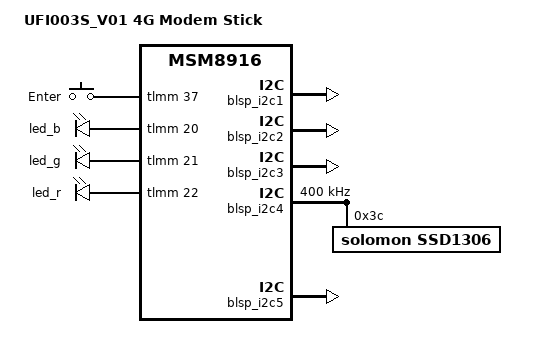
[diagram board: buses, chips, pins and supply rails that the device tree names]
// SPDX-License-Identifier: GPL-2.0-only

/dts-v1/;

#include "msm8916-ufi.dtsi"

/ {
	model = "UFI003S_V01 4G Modem Stick";
	compatible = "ufi,ufi003s-v01", "qcom,msm8916";
};

&blsp_i2c1 {
	status = "okay";
};

&blsp_i2c2 {
	status = "okay";
};

&blsp_i2c3 {
	status = "okay";
};

&blsp_i2c4 {
	status = "okay";
	clock-frequency = <400000>;
	ssd1306: oled@3c { // my custom hardware modification
		compatible = "solomon,ssd1306";
		reg = <0x3c>;
		solomon,width = <128>;
		solomon,height = <64>;
		solomon,page-offset = <0>;
		solomon,com-invdir;
		status = "okay";
	};
};

&blsp_i2c5 {
	status = "okay";
};

&button_restart {
	gpios = <&tlmm 37 GPIO_ACTIVE_HIGH>;
	label = "Enter";
	//label = "Restart";
	linux,code = <KEY_ENTER>;
};

&led_b {
	gpios = <&tlmm 20 GPIO_ACTIVE_HIGH>;
};

&led_g {
	gpios = <&tlmm 21 GPIO_ACTIVE_HIGH>;
};

&led_r {
	gpios = <&tlmm 22 GPIO_ACTIVE_HIGH>;
};

&button_default {
	pins = "gpio37";
	bias-pull-down;
};

&gpio_leds_default {
	pins = "gpio20", "gpio21", "gpio22";
};
